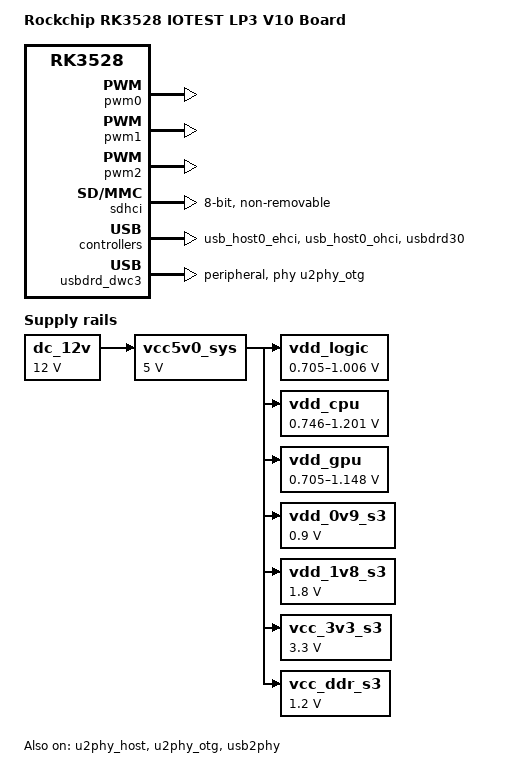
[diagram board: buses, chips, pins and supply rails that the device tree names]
// SPDX-License-Identifier: (GPL-2.0+ OR MIT)
/*
 * Copyright (c) 2022 Rockchip Electronics Co., Ltd.
 *
 */

/dts-v1/;

#include <dt-bindings/gpio/gpio.h>

#include "rk3528.dtsi"
#include "rk3528-android.dtsi"

/ {
	model = "Rockchip RK3528 IOTEST LP3 V10 Board";
	compatible = "rockchip,rk3528-iotest-lp3-v10", "rockchip,rk3528";

	firmware {
		android {
			compatible = "android,firmware";
			boot_devices = "ffbf0000.mmc";
			vbmeta {
				compatible = "android,vbmeta";
				parts = "vbmeta,boot,system,vendor,dtbo";
			};
			fstab {
				compatible = "android,fstab";
				vendor {
					compatible = "android,vendor";
					dev = "/dev/block/by-name/vendor";
					type = "ext4";
					mnt_flags = "ro,barrier=1,inode_readahead_blks=8";
					fsmgr_flags = "wait,avb";
				};
			};
		};
	};

	dc_12v: dc-12v {
		compatible = "regulator-fixed";
		regulator-name = "dc_12v";
		regulator-always-on;
		regulator-boot-on;
		regulator-min-microvolt = <12000000>;
		regulator-max-microvolt = <12000000>;
	};

	vcc5v0_sys: vcc5v0-sys {
		compatible = "regulator-fixed";
		regulator-name = "vcc5v0_sys";
		regulator-always-on;
		regulator-boot-on;
		regulator-min-microvolt = <5000000>;
		regulator-max-microvolt = <5000000>;
		vin-supply = <&dc_12v>;
	};

	vdd_logic: vdd-logic {
		compatible = "pwm-regulator";
		pwms = <&pwm2 0 5000 1>;
		regulator-name = "vdd_logic";
		regulator-min-microvolt = <705000>;
		regulator-max-microvolt = <1006000>;
		regulator-init-microvolt = <900000>;
		regulator-always-on;
		regulator-boot-on;
		regulator-settling-time-up-us = <250>;
		pwm-supply = <&vcc5v0_sys>;
		status = "okay";
	};

	vdd_cpu: vdd-cpu {
		compatible = "pwm-regulator";
		pwms = <&pwm1 0 5000 1>;
		regulator-name = "vdd_cpu";
		regulator-min-microvolt = <746000>;
		regulator-max-microvolt = <1201000>;
		regulator-init-microvolt = <953000>;
		regulator-always-on;
		regulator-boot-on;
		regulator-settling-time-up-us = <250>;
		pwm-supply = <&vcc5v0_sys>;
		status = "okay";
	};

	vdd_gpu: vdd-gpu {
		compatible = "pwm-regulator";
		pwms = <&pwm0 0 5000 1>;
		regulator-name = "vdd_gpu";
		regulator-min-microvolt = <705000>;
		regulator-max-microvolt = <1148000>;
		regulator-init-microvolt = <900000>;
		regulator-always-on;
		regulator-boot-on;
		regulator-settling-time-up-us = <250>;
		pwm-supply = <&vcc5v0_sys>;
		status = "okay";
	};

	vdd_0v9_s3: vdd-0v9-s3 {
		compatible = "regulator-fixed";
		regulator-name = "vdd_0v9_s3";
		regulator-always-on;
		regulator-boot-on;
		regulator-min-microvolt = <900000>;
		regulator-max-microvolt = <900000>;
		vin-supply = <&vcc5v0_sys>;
	};

	vdd_1v8_s3: vdd-1v8-s3 {
		compatible = "regulator-fixed";
		regulator-name = "vdd_1v8_s3";
		regulator-always-on;
		regulator-boot-on;
		regulator-min-microvolt = <1800000>;
		regulator-max-microvolt = <1800000>;
		vin-supply = <&vcc5v0_sys>;
	};

	vcc_3v3_s3: vcc-3v3-s3 {
		compatible = "regulator-fixed";
		regulator-name = "vcc_3v3_s3";
		regulator-always-on;
		regulator-boot-on;
		regulator-min-microvolt = <3300000>;
		regulator-max-microvolt = <3300000>;
		vin-supply = <&vcc5v0_sys>;
	};

	vcc_ddr_s3: vcc-ddr-s3 {
		compatible = "regulator-fixed";
		regulator-name = "vcc_ddr_s3";
		regulator-always-on;
		regulator-boot-on;
		regulator-min-microvolt = <1200000>;
		regulator-max-microvolt = <1200000>;
		vin-supply = <&vcc5v0_sys>;
	};
};

&cpu0 {
	cpu-supply = <&vdd_cpu>;
};

&cpu0_opp_table {
	/delete-node/ opp-1416000000;
	/delete-node/ opp-1608000000;
};

&pwm0 {
	status = "okay";
};

&pwm1 {
	status = "okay";
};

&pwm2 {
	status = "okay";
};

&sdhci {
	bus-width = <8>;
	supports-emmc;
	non-removable;
	max-frequency = <200000000>;
	status = "okay";
};

&u2phy_host {
	status = "okay";
};

&u2phy_otg {
	status = "okay";
};

&usb2phy {
	status = "okay";
};

&usb_host0_ehci {
	status = "okay";
};

&usb_host0_ohci {
	status = "okay";
};

&usbdrd30 {
	status = "okay";
};

&usbdrd_dwc3 {
	dr_mode = "peripheral";
	maximum-speed = "high-speed";
	extcon = <&usb2phy>;
	phys = <&u2phy_otg>;
	phy-names = "usb2-phy";
	snps,dis_u2_susphy_quirk;
	snps,usb2-lpm-disable;
	status = "okay";
};
